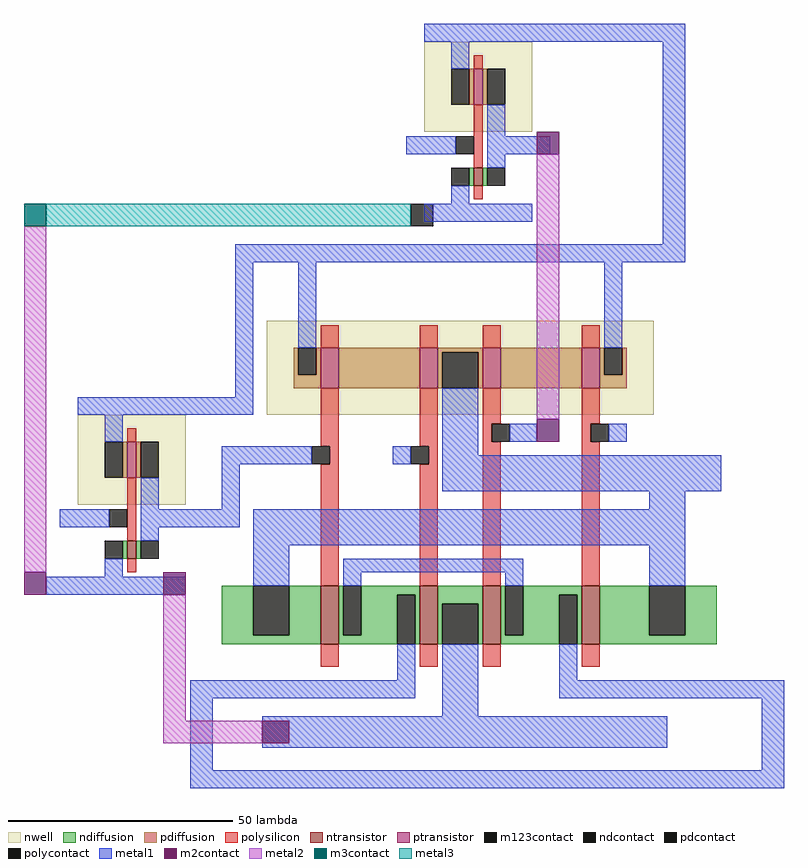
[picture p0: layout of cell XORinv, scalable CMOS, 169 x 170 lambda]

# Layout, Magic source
magic
tech scmos
<< metal1 >>
rect 76 166 110 170
rect 75 141 77 145
rect 105 121 110 166
rect 10 117 22 121
rect 102 117 110 121
rect 10 87 14 117
rect -2 83 14 87
rect 71 77 77 81
rect 7 72 23 76
rect 45 72 46 76
rect 7 62 11 72
rect 3 58 11 62
rect -32 43 -24 47
<< m2contact >>
rect 77 141 82 146
rect 77 77 82 82
rect -37 43 -32 48
rect -6 43 -1 48
rect 16 10 22 15
<< metal2 >>
rect -37 48 -32 125
rect 77 82 82 141
rect -6 15 -1 43
rect -6 10 16 15
<< m3contact >>
rect -37 125 -32 130
<< m123contact >>
rect 49 125 54 130
<< metal3 >>
rect -32 125 49 130
use NOT  NOT_1
transform 1 0 52 0 1 146
box -4 -20 28 24
use NOT  NOT_0
transform 1 0 -25 0 1 63
box -4 -20 28 24
use XOR  XOR_0
transform 1 0 74 0 1 86
box -74 -86 58 35
<< end >>

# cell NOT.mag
magic
tech scmos
<< nwell >>
rect 0 0 24 20
<< ntransistor >>
rect 11 -12 13 -8
<< ptransistor >>
rect 11 6 13 14
<< ndiffusion >>
rect 10 -12 11 -8
rect 13 -12 14 -8
<< pdiffusion >>
rect 10 6 11 14
rect 13 6 14 14
<< ndcontact >>
rect 6 -12 10 -8
rect 14 -12 18 -8
<< pdcontact >>
rect 6 6 10 14
rect 14 6 18 14
<< polysilicon >>
rect 11 14 13 17
rect 11 -8 13 6
rect 11 -15 13 -12
<< polycontact >>
rect 7 -5 11 -1
<< metal1 >>
rect 0 20 24 24
rect 6 14 10 20
rect 14 -1 18 6
rect -4 -5 7 -1
rect 14 -5 28 -1
rect 14 -8 18 -5
rect 6 -16 10 -12
rect 0 -20 24 -16
<< labels >>
rlabel metal1 0 20 24 24 5 vdd
rlabel metal1 0 -20 24 -16 1 gnd
<< end >>

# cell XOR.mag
magic
tech scmos
<< nwell >>
rect -57 -3 29 18
<< ntransistor >>
rect -45 -54 -41 -41
rect -23 -54 -19 -41
rect -9 -54 -5 -41
rect 13 -54 17 -41
<< ptransistor >>
rect -45 3 -41 12
rect -23 3 -19 12
rect -9 3 -5 12
rect 13 3 17 12
<< ndiffusion >>
rect -67 -52 -60 -41
rect -52 -52 -45 -41
rect -67 -54 -45 -52
rect -41 -52 -40 -41
rect -36 -43 -23 -41
rect -36 -52 -28 -43
rect -41 -54 -28 -52
rect -24 -54 -23 -43
rect -19 -45 -9 -41
rect -19 -54 -18 -45
rect -10 -54 -9 -45
rect -5 -52 -4 -41
rect 0 -43 13 -41
rect 0 -52 8 -43
rect -5 -54 8 -52
rect 12 -54 13 -43
rect 17 -52 28 -41
rect 36 -52 43 -41
rect 17 -54 43 -52
<< pdiffusion >>
rect -51 6 -50 12
rect -46 6 -45 12
rect -51 3 -45 6
rect -41 3 -23 12
rect -19 11 -9 12
rect -19 3 -18 11
rect -10 3 -9 11
rect -5 3 13 12
rect 17 6 18 12
rect 22 6 23 12
rect 17 3 23 6
<< ndcontact >>
rect -60 -52 -52 -41
rect -40 -52 -36 -41
rect -28 -54 -24 -43
rect -18 -54 -10 -45
rect -4 -52 0 -41
rect 8 -54 12 -43
rect 28 -52 36 -41
<< pdcontact >>
rect -50 6 -46 12
rect -18 3 -10 11
rect 18 6 22 12
<< polysilicon >>
rect -45 12 -41 17
rect -23 12 -19 17
rect -9 12 -5 17
rect 13 12 17 17
rect -45 -10 -41 3
rect -23 -10 -19 3
rect -43 -14 -41 -10
rect -21 -14 -19 -10
rect -45 -41 -41 -14
rect -23 -41 -19 -14
rect -9 -5 -5 3
rect 13 -5 17 3
rect -9 -9 -7 -5
rect 13 -9 15 -5
rect -9 -41 -5 -9
rect 13 -41 17 -9
rect -45 -59 -41 -54
rect -23 -59 -19 -54
rect -9 -59 -5 -54
rect 13 -59 17 -54
<< polycontact >>
rect -47 -14 -43 -10
rect -25 -14 -21 -10
rect -7 -9 -3 -5
rect 15 -9 19 -5
<< metal1 >>
rect -57 31 29 35
rect -50 12 -46 31
rect 18 12 22 31
rect -51 -14 -47 -10
rect -29 -14 -25 -10
rect -18 -12 -10 3
rect -3 -9 1 -5
rect 19 -9 23 -5
rect -18 -20 44 -12
rect 28 -24 36 -20
rect -60 -32 36 -24
rect -60 -41 -52 -32
rect -40 -38 0 -35
rect -40 -41 -36 -38
rect -4 -41 0 -38
rect -28 -62 -24 -54
rect -74 -66 -24 -62
rect 28 -41 36 -32
rect -74 -82 -69 -66
rect -18 -70 -10 -54
rect 8 -62 12 -54
rect 8 -66 58 -62
rect -58 -77 32 -70
rect 53 -82 58 -66
rect -74 -86 58 -82
<< labels >>
rlabel metal1 36 -20 44 -12 1 out
rlabel metal1 -15 -74 -15 -74 1 gnd
rlabel metal1 -14 33 -14 33 5 vdd
<< end >>
